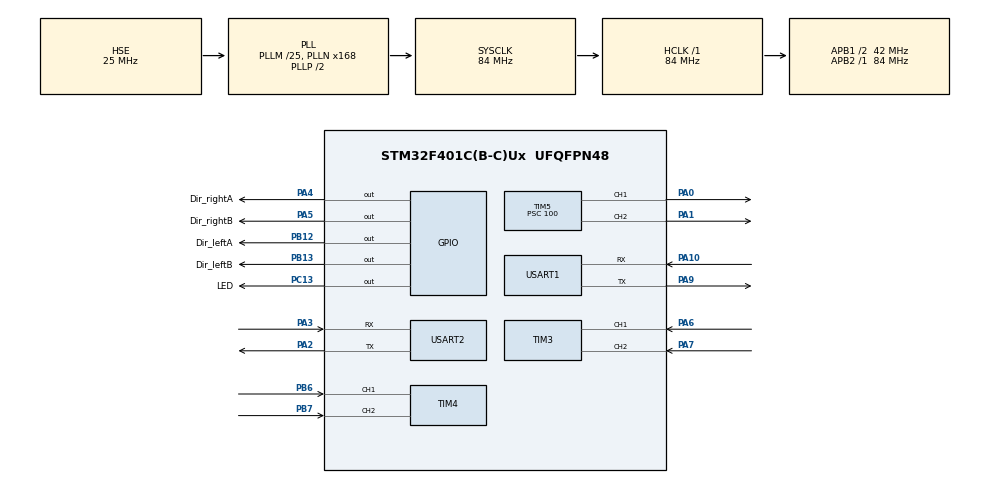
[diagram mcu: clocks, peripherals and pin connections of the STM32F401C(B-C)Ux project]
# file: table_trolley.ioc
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Dma.Request0=USART2_RX
Dma.Request1=USART2_TX
Dma.USART2_RX.0.Direction=DMA_PERIPH_TO_MEMORY
Dma.USART2_RX.0.FIFOMode=DMA_FIFOMODE_DISABLE
Dma.USART2_RX.0.Instance=DMA1_Stream5
Dma.USART2_RX.0.MemDataAlignment=DMA_MDATAALIGN_BYTE
Dma.USART2_RX.0.MemInc=DMA_MINC_ENABLE
Dma.USART2_RX.0.Mode=DMA_CIRCULAR
Dma.USART2_RX.0.PeriphDataAlignment=DMA_PDATAALIGN_BYTE
Dma.USART2_RX.0.PeriphInc=DMA_PINC_DISABLE
Dma.USART2_RX.0.Priority=DMA_PRIORITY_LOW
Dma.USART2_TX.1.Direction=DMA_MEMORY_TO_PERIPH
Dma.USART2_TX.1.FIFOMode=DMA_FIFOMODE_DISABLE
Dma.USART2_TX.1.Instance=DMA1_Stream6
Dma.USART2_TX.1.MemDataAlignment=DMA_MDATAALIGN_BYTE
Dma.USART2_TX.1.MemInc=DMA_MINC_ENABLE
Dma.USART2_TX.1.Mode=DMA_NORMAL
Dma.USART2_TX.1.PeriphDataAlignment=DMA_PDATAALIGN_BYTE
Dma.USART2_TX.1.PeriphInc=DMA_PINC_DISABLE
Dma.USART2_TX.1.Priority=DMA_PRIORITY_LOW
FREERTOS.BinarySemaphores01=tim2_Binary,Dynamic,NULL;usart2_Binary,Dynamic,NULL
FREERTOS.Tasks01=defaultTask,24,128,StartDefaultTask,Default,NULL,Dynamic,NULL,NULL;high_task,8,128,Task_high,Default,NULL,Dynamic,NULL,NULL;middle_task,8,128,Task_middle,Default,NULL,Dynamic,NULL,NULL
Mcu.Family=STM32F4
Mcu.Name=STM32F401C(B-C)Ux
Mcu.Package=UFQFPN48
NVIC.DMA1_Stream5_IRQn=true\:7\:0\:true\:false\:true\:true\:false\:true\:true
NVIC.DMA1_Stream6_IRQn=true\:7\:0\:true\:false\:true\:true\:false\:true\:true
NVIC.PriorityGroup=NVIC_PRIORITYGROUP_4
NVIC.TIM1_TRG_COM_TIM11_IRQn=true\:15\:0\:false\:false\:true\:false\:false\:true\:true
NVIC.TIM2_IRQn=true\:6\:0\:true\:false\:true\:true\:true\:true\:true
NVIC.TIM3_IRQn=true\:5\:0\:false\:false\:true\:true\:true\:true\:true
NVIC.TIM4_IRQn=true\:5\:0\:false\:false\:true\:true\:true\:true\:true
NVIC.TimeBase=TIM1_TRG_COM_TIM11_IRQn
NVIC.TimeBaseIP=TIM11
NVIC.USART2_IRQn=true\:8\:0\:true\:false\:true\:true\:true\:true\:true
PA0-WKUP.Signal=S_TIM5_CH1
PA1.Signal=S_TIM5_CH2
PA10.Mode=Asynchronous
PA10.Signal=USART1_RX
PA13.Mode=Serial_Wire
PA13.Signal=SYS_JTMS-SWDIO
PA14.Mode=Serial_Wire
PA14.Signal=SYS_JTCK-SWCLK
PA2.Mode=Asynchronous
PA2.Signal=USART2_TX
PA3.Mode=Asynchronous
PA3.Signal=USART2_RX
PA4.GPIO_Label=Dir_rightA
PA4.Signal=GPIO_Output
PA5.GPIO_Label=Dir_rightB
PA5.Signal=GPIO_Output
PA6.GPIO_PuPd=GPIO_PULLUP
PA6.GPIO_Speed=GPIO_SPEED_FREQ_VERY_HIGH
PA6.Signal=S_TIM3_CH1
PA7.GPIO_PuPd=GPIO_PULLUP
PA7.GPIO_Speed=GPIO_SPEED_FREQ_VERY_HIGH
PA7.Signal=S_TIM3_CH2
PA9.Mode=Asynchronous
PA9.Signal=USART1_TX
PB12.GPIO_Label=Dir_leftA
PB12.Signal=GPIO_Output
PB13.GPIO_Label=Dir_leftB
PB13.Signal=GPIO_Output
PB6.GPIO_PuPd=GPIO_PULLUP
PB6.GPIO_Speed=GPIO_SPEED_FREQ_VERY_HIGH
PB6.Signal=S_TIM4_CH1
PB7.GPIO_PuPd=GPIO_PULLUP
PB7.GPIO_Speed=GPIO_SPEED_FREQ_VERY_HIGH
PB7.Signal=S_TIM4_CH2
PC13-ANTI_TAMP.GPIO_Label=LED
PC13-ANTI_TAMP.GPIO_PuPd=GPIO_PULLDOWN
PC13-ANTI_TAMP.Signal=GPIO_Output
PH0\ -\ OSC_IN.Mode=HSE-External-Oscillator
PH0\ -\ OSC_IN.Signal=RCC_OSC_IN
PH1\ -\ OSC_OUT.Mode=HSE-External-Oscillator
PH1\ -\ OSC_OUT.Signal=RCC_OSC_OUT
ProjectManager.HeapSize=0x200
ProjectManager.StackSize=0x400
ProjectManager.TargetToolchain=MDK-ARM V5.32
RCC.48MHZClocksFreq_Value=42000000
RCC.AHBFreq_Value=84000000
RCC.APB1CLKDivider=RCC_HCLK_DIV2
RCC.APB1Freq_Value=42000000
RCC.APB1TimFreq_Value=84000000
RCC.APB2Freq_Value=84000000
RCC.APB2TimFreq_Value=84000000
RCC.CortexFreq_Value=84000000
RCC.HCLKFreq_Value=84000000
RCC.HSE_VALUE=25000000
RCC.HSI_VALUE=16000000
RCC.LSE_VALUE=32768
RCC.PLLM=25
RCC.PLLN=168
RCC.PLLSourceVirtual=RCC_PLLSOURCE_HSE
RCC.SYSCLKFreq_VALUE=84000000
RCC.SYSCLKSource=RCC_SYSCLKSOURCE_PLLCLK
RCC.VCOOutputFreq_Value=168000000
SH.S_TIM3_CH1.0=TIM3_CH1,Encoder_Interface
SH.S_TIM3_CH2.0=TIM3_CH2,Encoder_Interface
SH.S_TIM4_CH1.0=TIM4_CH1,Encoder_Interface
SH.S_TIM4_CH2.0=TIM4_CH2,Encoder_Interface
SH.S_TIM5_CH1.0=TIM5_CH1,PWM Generation1 CH1
SH.S_TIM5_CH2.0=TIM5_CH2,PWM Generation2 CH2
TIM2.AutoReloadPreload=TIM_AUTORELOAD_PRELOAD_ENABLE
TIM2.Period=99
TIM2.Prescaler=8399
TIM3.EncoderMode=TIM_ENCODERMODE_TI12
TIM4.EncoderMode=TIM_ENCODERMODE_TI12
TIM5.Channel-PWM\ Generation1\ CH1=TIM_CHANNEL_1
TIM5.Channel-PWM\ Generation2\ CH2=TIM_CHANNEL_2
TIM5.Period=8399
TIM5.Prescaler=100
USART1.VirtualMode=VM_ASYNC
USART2.VirtualMode=VM_ASYNC
VP_FREERTOS_VS_CMSIS_V2.Mode=CMSIS_V2
VP_SYS_VS_tim11.Mode=TIM11
VP_TIM2_VS_ClockSourceINT.Mode=Internal
VP_TIM5_VS_ClockSourceINT.Mode=Internal
board=custom

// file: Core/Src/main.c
/* USER CODE BEGIN Header */
/**
  ******************************************************************************
  * @file           : main.c
  * @brief          : Main program body
  ******************************************************************************
  * @attention
  *
  * Copyright (c) 2022 STMicroelectronics.
  * All rights reserved.
  *
  * This software is licensed under terms that can be found in the LICENSE file
  * in the root directory of this software component.
  * If no LICENSE file comes with this software, it is provided AS-IS.
  *
  ******************************************************************************
  */
/* USER CODE END Header */
#include "main.h"
#include "cmsis_os.h"
#include "dma.h"
#include "tim.h"
#include "usart.h"
#include "gpio.h"

/* USER CODE BEGIN Includes */
#include "usart.h"

//网络协议层
#include "onenet.h"

//网络设备
#include "esp8266.h"
//C库
#include <string.h>

#include "stdio.h"
#include "math.h"
#include "semphr.h"
/* USER CODE END Includes */

/* USER CODE BEGIN PTD */
//#define DelayXms	 osDelay
/* USER CODE END PTD */

/* USER CODE BEGIN PD */

extern UART_HandleTypeDef huart1;
extern UART_HandleTypeDef huart2;
extern DMA_HandleTypeDef hdma_usart2_rx;
extern DMA_HandleTypeDef hdma_usart2_tx;

extern unsigned char esp8266_buf[128];
extern unsigned short esp8266_cnt, esp8266_cntPre;
extern char *req_payload ;

unsigned int MotorSpeed_left;  // 电机当前速度数值，从编码器中获取
unsigned int MotorSpeed_right;  // 电机当前速度数值，从编码器中获取
int MotorOutput_left;		  // 电机输出
int MotorOutput_right;		  // 电机输出

unsigned int LastSpeed_left;
unsigned int LastSpeed_right;

extern osSemaphoreId_t tim2_BinaryHandle;

	const char *topics[] = {"/tabletrolley/pub"};
	const char toptopic[] = {"table/trolley/sub"};
	unsigned short timeCount = 0;	//发送间隔变量

	unsigned char *dataPtr = NULL;

uint16_t  PWM_left=1140;
uint16_t PWM_right=1000;

/* USER CODE END PD */

void SystemClock_Config(void);
void MX_FREERTOS_Init(void);

int main(void)
{

  /* MCU Configuration--------------------------------------------------------*/

  /* Reset of all peripherals, Initializes the Flash interface and the Systick. */
  HAL_Init();

  /* Configure the system clock */
  SystemClock_Config();

  /* Initialize all configured peripherals */
  MX_GPIO_Init();
  MX_DMA_Init();
  MX_TIM2_Init();
  MX_TIM3_Init();
  MX_TIM4_Init();
  MX_USART1_UART_Init();
  MX_USART2_UART_Init();
  MX_TIM5_Init();
  /* USER CODE BEGIN 2 */
	__HAL_UART_ENABLE_IT(&huart2, UART_IT_IDLE);//使能串口1 IDLE中断
	HAL_UART_Receive_DMA(&huart2,esp8266_buf,128);//使能接收

		ESP8266_Init();					//初始化ESP8266
		while(OneNet_DevLink())			//接入OneNET
		DelayXms(500);
		UsartPrintf(USART_DEBUG,"connected\r\n");
		DelayXms(250);
		UsartPrintf(USART_DEBUG,"sucess\r\n");
		OneNet_Subscribe(topics, 1);

	HAL_TIM_PWM_Start(&htim5, TIM_CHANNEL_1);	    // TIM1_CH1(pwm)
	HAL_TIM_PWM_Start(&htim5, TIM_CHANNEL_2);	    // TIM1_CH4(pwm)
  HAL_TIM_Encoder_Start(&htim4, TIM_CHANNEL_ALL); // 开启编码器A
  HAL_TIM_Encoder_Start(&htim3, TIM_CHANNEL_ALL); // 开启编码器B
  HAL_TIM_Base_Start_IT(&htim2);                // 使能定时器2中断

		__HAL_TIM_SET_COMPARE(&htim5, TIM_CHANNEL_1, 1000);
		__HAL_TIM_SET_COMPARE(&htim5, TIM_CHANNEL_2,1000);
		DirLA_ON;
		DirLB_OFF;
		DirRA_OFF;
		DirRB_ON;
  /* USER CODE END 2 */

  /* Init scheduler */
  osKernelInitialize();  /* Call init function for freertos objects (in freertos.c) */
  MX_FREERTOS_Init();

//  /* Start scheduler */
  osKernelStart();

  /* We should never get here as control is now taken by the scheduler */
  /* Infinite loop */
  while (1)
  {
		if(++timeCount >= 200)									//发送间隔5s
		{
			UsartPrintf(USART_DEBUG, "OneNet_Publish\r\n");
			OneNet_Publish(toptopic,"TEST11111\r\n");
			UsartPrintf(USART_DEBUG,"connected\r\n");
			timeCount = 0;
			ESP8266_Clear();
		}

		dataPtr = ESP8266_GetIPD(0);
		if(dataPtr != NULL)
			OneNet_RevPro(dataPtr);
		HAL_Delay(10);
  }
}

void SystemClock_Config(void)
{
  RCC_OscInitTypeDef RCC_OscInitStruct = {0};
  RCC_ClkInitTypeDef RCC_ClkInitStruct = {0};

  /** Configure the main internal regulator output voltage
  */
  __HAL_RCC_PWR_CLK_ENABLE();
  __HAL_PWR_VOLTAGESCALING_CONFIG(PWR_REGULATOR_VOLTAGE_SCALE2);

  /** Initializes the RCC Oscillators according to the specified parameters
  * in the RCC_OscInitTypeDef structure.
  */
  RCC_OscInitStruct.OscillatorType = RCC_OSCILLATORTYPE_HSE;
  RCC_OscInitStruct.HSEState = RCC_HSE_ON;
  RCC_OscInitStruct.PLL.PLLState = RCC_PLL_ON;
  RCC_OscInitStruct.PLL.PLLSource = RCC_PLLSOURCE_HSE;
  RCC_OscInitStruct.PLL.PLLM = 25;
  RCC_OscInitStruct.PLL.PLLN = 168;
  RCC_OscInitStruct.PLL.PLLP = RCC_PLLP_DIV2;
  RCC_OscInitStruct.PLL.PLLQ = 4;
  if (HAL_RCC_OscConfig(&RCC_OscInitStruct) != HAL_OK)
  {
    Error_Handler();
  }

  /** Initializes the CPU, AHB and APB buses clocks
  */
  RCC_ClkInitStruct.ClockType = RCC_CLOCKTYPE_HCLK|RCC_CLOCKTYPE_SYSCLK
                              |RCC_CLOCKTYPE_PCLK1|RCC_CLOCKTYPE_PCLK2;
  RCC_ClkInitStruct.SYSCLKSource = RCC_SYSCLKSOURCE_PLLCLK;
  RCC_ClkInitStruct.AHBCLKDivider = RCC_SYSCLK_DIV1;
  RCC_ClkInitStruct.APB1CLKDivider = RCC_HCLK_DIV2;
  RCC_ClkInitStruct.APB2CLKDivider = RCC_HCLK_DIV1;

  if (HAL_RCC_ClockConfig(&RCC_ClkInitStruct, FLASH_LATENCY_2) != HAL_OK)
  {
    Error_Handler();
  }
}

void HAL_TIM_PeriodElapsedCallback(TIM_HandleTypeDef *htim)
{
  if (htim->Instance == TIM11) {
    HAL_IncTick();
  }
  /* USER CODE BEGIN Callback 1 */
	 static unsigned char i = 0;
		BaseType_t xHigherPriorityTaskWoken = pdFALSE;
    if (htim == (&htim2))
    {
        //1.获取电机速度
				LastSpeed_left= (short)(__HAL_TIM_GET_COUNTER(&htim3));
				LastSpeed_right = (short)(__HAL_TIM_GET_COUNTER(&htim4));
        // TIM4计数器获得电机脉冲，该电机在10ms采样的脉冲/18则为实际转速的rpm
        __HAL_TIM_SET_COUNTER(&htim4,0);  // 计数器清零
				__HAL_TIM_SET_COUNTER(&htim3,0);  // 计数器清零
			MotorSpeed_left=MotorSpeed_left+LastSpeed_left;
			MotorSpeed_right=LastSpeed_right+MotorSpeed_right;

//				xSemaphoreGiveFromISR( tim2_BinaryHandle, &xHigherPriorityTaskWoken ); // 发送中断二值信号量 中断与任务同步
//				portYIELD_FROM_ISR(xHigherPriorityTaskWoken);
//        //2.将占空比导入至电机控制函数
//        MotorOutput=3600; // 3600即为50%的占空比
//        __HAL_TIM_SET_COMPARE(&htim1, TIM_CHANNEL_1, MotorOutput);
//        MotorOutput=MotorOutput*100/7200;
        // 占空比（按最高100%计算，串口打印）
        i++;
        if(i>5)
        {
          // 通过观察小灯亮灭来判断是否正确进入定时器中断
          HAL_GPIO_TogglePin(GPIOD, GPIO_PIN_1);
          // 打印定时器4的计数值，short（-32768——32767）
					xSemaphoreGiveFromISR( tim2_BinaryHandle, &xHigherPriorityTaskWoken ); // 发送中断二值信号量 中断与任务同步
					portYIELD_FROM_ISR(xHigherPriorityTaskWoken);
					UsartPrintf(USART_DEBUG,"Encoder left = %d moto left= %d \r\n",MotorSpeed_left,MotorOutput_left);
					UsartPrintf(USART_DEBUG,"Encoder right = %d moto right = %d \r\n",MotorSpeed_right,MotorOutput_right);
					UsartPrintf(USART_DEBUG,"PWM_left = %d PWM_right = %d \r\n",PWM_left,PWM_right);
					MotorSpeed_left=0;
					MotorSpeed_right=0;
          i=0;
        }
    }
  /* USER CODE END Callback 1 */
}

void Error_Handler(void)
{
  __disable_irq();
  while (1)
  {
  }
}

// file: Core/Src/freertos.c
/* USER CODE BEGIN Header */
/**
  ******************************************************************************
  * File Name          : freertos.c
  * Description        : Code for freertos applications
  ******************************************************************************
  * @attention
  *
  * Copyright (c) 2022 STMicroelectronics.
  * All rights reserved.
  *
  * This software is licensed under terms that can be found in the LICENSE file
  * in the root directory of this software component.
  * If no LICENSE file comes with this software, it is provided AS-IS.
  *
  ******************************************************************************
  */
/* USER CODE END Header */

#include "FreeRTOS.h"
#include "task.h"
#include "main.h"
#include "cmsis_os.h"

/* USER CODE BEGIN Includes */
#include "usart.h"
//网络协议层
#include "onenet.h"

//网络设备
#include "esp8266.h"
//C库
#include <string.h>
#include "semphr.h"
/* USER CODE END Includes */

/* USER CODE BEGIN PD */
extern UART_HandleTypeDef huart1;
extern UART_HandleTypeDef huart2;
extern DMA_HandleTypeDef hdma_usart2_rx;
extern DMA_HandleTypeDef hdma_usart2_tx;

extern unsigned char esp8266_buf[128];
extern unsigned short esp8266_cnt, esp8266_cntPre;
extern char *req_payload ;
extern uint8_t recv_end_flag;

extern unsigned int MotorSpeed_left;  // 电机当前速度数值，从编码器中获取
extern unsigned int MotorSpeed_right;  // 电机当前速度数值，从编码器中获取
extern int MotorOutput_left;		  // 电机输出
extern int MotorOutput_right;		  // 电机输出

//unsigned char *dataPtr = NULL;

extern TIM_HandleTypeDef htim5;
extern TIM_HandleTypeDef htim2;
extern TIM_HandleTypeDef htim3;
extern TIM_HandleTypeDef htim4;
extern 	const char *topics[];
extern	const char toptopic[];
extern	unsigned short timeCount ;	//发送间隔变量

extern	unsigned char *dataPtr ;

/* USER CODE END PD */

/* Definitions for defaultTask */
osThreadId_t defaultTaskHandle;
const osThreadAttr_t defaultTask_attributes = {
  .name = "defaultTask",
  .stack_size = 128 * 4,
  .priority = (osPriority_t) osPriorityNormal,
};
/* Definitions for high_task */
osThreadId_t high_taskHandle;
const osThreadAttr_t high_task_attributes = {
  .name = "high_task",
  .stack_size = 128 * 4,
  .priority = (osPriority_t) osPriorityLow,
};
/* Definitions for middle_task */
osThreadId_t middle_taskHandle;
const osThreadAttr_t middle_task_attributes = {
  .name = "middle_task",
  .stack_size = 128 * 4,
  .priority = (osPriority_t) osPriorityLow,
};
/* Definitions for tim2_Binary */
osSemaphoreId_t tim2_BinaryHandle;
const osSemaphoreAttr_t tim2_Binary_attributes = {
  .name = "tim2_Binary"
};
/* Definitions for usart2_Binary */
osSemaphoreId_t usart2_BinaryHandle;
const osSemaphoreAttr_t usart2_Binary_attributes = {
  .name = "usart2_Binary"
};

void StartDefaultTask(void *argument);
void Task_high(void *argument);
void Task_middle(void *argument);

void MX_FREERTOS_Init(void); /* (MISRA C 2004 rule 8.1) */

void MX_FREERTOS_Init(void) {

  /* Create the semaphores(s) */
  /* creation of tim2_Binary */
  tim2_BinaryHandle = osSemaphoreNew(1, 1, &tim2_Binary_attributes);

  /* creation of usart2_Binary */
  usart2_BinaryHandle = osSemaphoreNew(1, 1, &usart2_Binary_attributes);

  /* Create the thread(s) */
  /* creation of defaultTask */
  defaultTaskHandle = osThreadNew(StartDefaultTask, NULL, &defaultTask_attributes);

  /* creation of high_task */
  high_taskHandle = osThreadNew(Task_high, NULL, &high_task_attributes);

  /* creation of middle_task */
  middle_taskHandle = osThreadNew(Task_middle, NULL, &middle_task_attributes);

}

void StartDefaultTask(void *argument)
{
  /* USER CODE BEGIN StartDefaultTask */
	BaseType_t xHigherPriorityTaskWoken;
  BaseType_t err;
  /* Infinite loop */

		for(;;)
  {

		if(tim2_BinaryHandle!=NULL)
        {
						err = xSemaphoreTakeFromISR( tim2_BinaryHandle, &xHigherPriorityTaskWoken );  // 中断与任务同步
						 if(err == pdTRUE)
						 {
//								UsartPrintf(USART_DEBUG,"Encoder left = %d moto left= %d \r\n",MotorSpeed_left,MotorOutput_left);
//								UsartPrintf(USART_DEBUG,"Encoder right = %d moto right = %d \r\n",MotorSpeed_right,MotorOutput_right);

						 }
				}
				 osDelay(1);

  }

  /* USER CODE END StartDefaultTask */
}

void Task_high(void *argument)
{
  /* USER CODE BEGIN Task_high */
  /* Infinite loop */
  for(;;)
  {
		if(++timeCount >= 200)									//发送间隔5s
		{
			UsartPrintf(USART_DEBUG, "OneNet_Publish\r\n");
			OneNet_Publish(toptopic,"nice\r\n");
			UsartPrintf(USART_DEBUG,"connected\r\n");
			timeCount = 0;
			ESP8266_Clear();
		}

		dataPtr = ESP8266_GetIPD(0);
		if(dataPtr != NULL)
			OneNet_RevPro(dataPtr);
		osDelay(10);
  }
  /* USER CODE END Task_high */
}

void Task_middle(void *argument)
{
  /* USER CODE BEGIN Task_middle */
  /* Infinite loop */
  for(;;)
  {
//		UsartPrintf(USART_DEBUG, "Task_middle\r\n");

    osDelay(200);
  }
  /* USER CODE END Task_middle */
}
